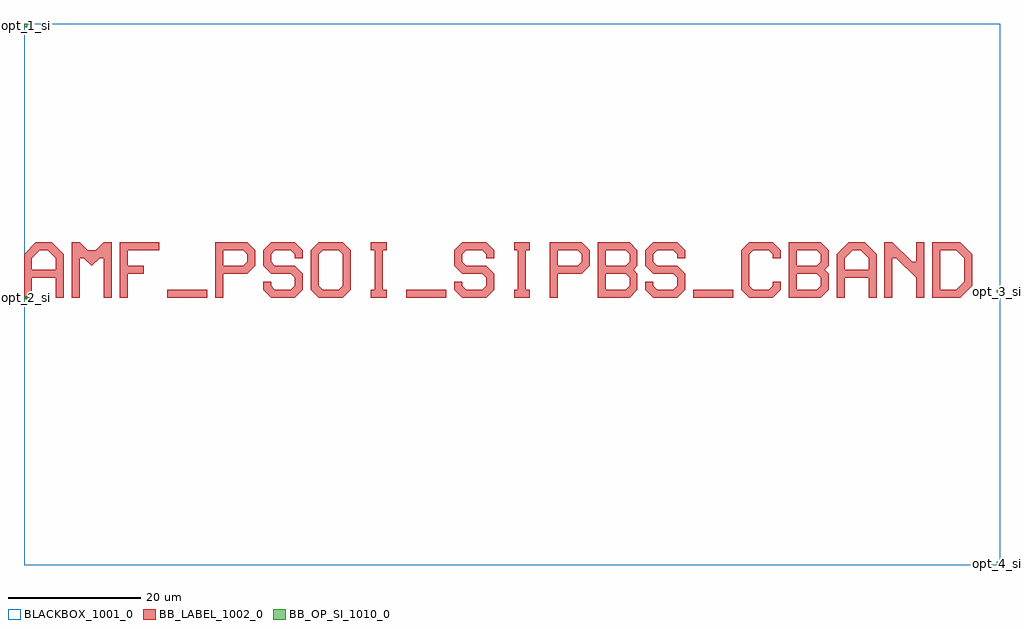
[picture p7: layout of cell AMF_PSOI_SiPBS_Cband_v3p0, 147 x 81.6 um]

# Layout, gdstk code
import gdstk
lib = gdstk.Library(unit=1e-6, precision=1e-09)
def R(c, l, rs):  # rectangles x0, y0, x1, y1
    for r in rs: c.add(gdstk.rectangle(r[:2], r[2:], *l))
def P(c, l, *ps):  # polygons
    for p in ps: c.add(gdstk.Polygon(p, *l))
BLACKBOX_1001_0 = (1001, 0)
BB_LABEL_1002_0 = (1002, 0)
BB_OP_SI_1010_0 = (1010, 0)

amf_psoi_sipbs_cband_v3p = lib.new_cell('AMF_PSOI_SiPBS_Cband_v3p0')
R(amf_psoi_sipbs_cband_v3p, BLACKBOX_1001_0, [(0,-40.3,147,41.3)])
R(amf_psoi_sipbs_cband_v3p, BB_LABEL_1002_0, [(21.602,-0.003,27.602,1.197), (57.602,-0.003,63.602,1.197), (100.802,-0.003,106.802,1.197)])
P(amf_psoi_sipbs_cband_v3p, BB_LABEL_1002_0, [(0.002,-0.003),(0.002,6.597),(1.802,8.397),(4.202,8.397),(5.402,7.197),(2.402,7.197),(1.202,5.997),(1.202,4.197),(4.802,4.197),(4.802,5.997),(3.602,7.197),(5.402,7.197),(6.002,6.597),(6.002,-0.003),(4.802,-0.003),(4.802,2.997),(1.202,2.997),(1.202,-0.003)],
  [(7.202,-0.003),(7.202,8.397),(8.402,8.397),(9.602,7.197),(10.802,7.197),(12.002,8.397),(13.202,8.397),(13.202,-0.003),(12.002,-0.003),(12.002,5.997),(11.402,5.997),(10.202,4.797),(9.002,5.997),(8.402,5.997),(8.402,-0.003)],
  [(14.402,-0.003),(14.402,8.397),(20.402,8.397),(20.402,7.197),(15.602,7.197),(15.602,4.797),(18.002,4.797),(18.002,3.597),(15.602,3.597),(15.602,-0.003)],
  [(28.802,-0.003),(28.802,8.397),(33.602,8.397),(34.802,7.197),(34.802,4.797),(33.602,3.597),(30.002,3.597),(30.002,4.797),(33.002,4.797),(33.602,5.397),(33.602,6.597),(33.002,7.197),(30.002,7.197),(30.002,-0.003)],
  [(37.202,-0.003),(36.002,1.197),(36.002,2.397),(37.202,2.397),(37.202,1.797),(37.802,1.197),(40.202,1.197),(40.802,1.797),(40.802,2.997),(40.202,3.597),(37.202,3.597),(36.002,4.797),(36.002,7.197),(37.202,8.397),(40.802,8.397),(42.002,7.197),(42.002,5.997),(40.802,5.997),(40.802,6.597),(40.202,7.197),(37.802,7.197),(37.202,6.597),(37.202,5.397),(37.802,4.797),(40.802,4.797),(42.002,3.597),(42.002,1.197),(40.802,-0.003)],
  [(44.402,-0.003),(43.202,1.197),(43.202,7.197),(44.402,8.397),(48.002,8.397),(49.202,7.197),(49.202,4.197),(48.002,4.197),(48.002,6.597),(47.402,7.197),(45.002,7.197),(44.402,6.597),(44.402,1.797),(45.002,1.197),(47.402,1.197),(48.002,1.797),(48.002,4.197),(49.202,4.197),(49.202,1.197),(48.002,-0.003)],
  [(52.202,-0.003),(52.202,1.197),(52.802,1.197),(52.802,7.197),(52.202,7.197),(52.202,8.397),(54.602,8.397),(54.602,7.197),(54.002,7.197),(54.002,1.197),(54.602,1.197),(54.602,-0.003)],
  [(66.002,-0.003),(64.802,1.197),(64.802,2.397),(66.002,2.397),(66.002,1.797),(66.602,1.197),(69.002,1.197),(69.602,1.797),(69.602,2.997),(69.002,3.597),(66.002,3.597),(64.802,4.797),(64.802,7.197),(66.002,8.397),(69.602,8.397),(70.802,7.197),(70.802,5.997),(69.602,5.997),(69.602,6.597),(69.002,7.197),(66.602,7.197),(66.002,6.597),(66.002,5.397),(66.602,4.797),(69.602,4.797),(70.802,3.597),(70.802,1.197),(69.602,-0.003)],
  [(73.802,-0.003),(73.802,1.197),(74.402,1.197),(74.402,7.197),(73.802,7.197),(73.802,8.397),(76.202,8.397),(76.202,7.197),(75.602,7.197),(75.602,1.197),(76.202,1.197),(76.202,-0.003)],
  [(79.202,-0.003),(79.202,8.397),(84.002,8.397),(85.202,7.197),(85.202,4.797),(84.002,3.597),(80.402,3.597),(80.402,4.797),(83.402,4.797),(84.002,5.397),(84.002,6.597),(83.402,7.197),(80.402,7.197),(80.402,-0.003)],
  [(86.402,-0.003),(86.402,8.397),(91.202,8.397),(92.402,7.197),(87.602,7.197),(87.602,4.797),(90.602,4.797),(91.202,5.397),(91.202,6.597),(90.602,7.197),(92.402,7.197),(92.402,4.797),(91.802,4.197),(92.402,3.597),(87.602,3.597),(87.602,1.197),(90.602,1.197),(91.202,1.797),(91.202,2.997),(90.602,3.597),(92.402,3.597),(92.402,1.197),(91.202,-0.003)],
  [(94.802,-0.003),(93.602,1.197),(93.602,2.397),(94.802,2.397),(94.802,1.797),(95.402,1.197),(97.802,1.197),(98.402,1.797),(98.402,2.997),(97.802,3.597),(94.802,3.597),(93.602,4.797),(93.602,7.197),(94.802,8.397),(98.402,8.397),(99.602,7.197),(99.602,5.997),(98.402,5.997),(98.402,6.597),(97.802,7.197),(95.402,7.197),(94.802,6.597),(94.802,5.397),(95.402,4.797),(98.402,4.797),(99.602,3.597),(99.602,1.197),(98.402,-0.003)],
  [(109.202,-0.003),(108.002,1.197),(108.002,7.197),(109.202,8.397),(112.802,8.397),(114.002,7.197),(114.002,5.997),(112.802,5.997),(112.802,6.597),(112.202,7.197),(109.802,7.197),(109.202,6.597),(109.202,1.797),(109.802,1.197),(112.202,1.197),(112.802,1.797),(112.802,2.397),(114.002,2.397),(114.002,1.197),(112.802,-0.003)],
  [(115.202,-0.003),(115.202,8.397),(120.002,8.397),(121.202,7.197),(116.402,7.197),(116.402,4.797),(119.402,4.797),(120.002,5.397),(120.002,6.597),(119.402,7.197),(121.202,7.197),(121.202,4.797),(120.602,4.197),(121.202,3.597),(116.402,3.597),(116.402,1.197),(119.402,1.197),(120.002,1.797),(120.002,2.997),(119.402,3.597),(121.202,3.597),(121.202,1.197),(120.002,-0.003)],
  [(122.402,-0.003),(122.402,6.597),(124.202,8.397),(126.602,8.397),(127.802,7.197),(124.802,7.197),(123.602,5.997),(123.602,4.197),(127.202,4.197),(127.202,5.997),(126.002,7.197),(127.802,7.197),(128.402,6.597),(128.402,-0.003),(127.202,-0.003),(127.202,2.997),(123.602,2.997),(123.602,-0.003)],
  [(129.602,-0.003),(129.602,8.397),(130.802,8.397),(133.802,5.397),(134.402,5.397),(134.402,8.397),(135.602,8.397),(135.602,-0.003),(134.402,-0.003),(134.402,2.997),(131.402,5.997),(130.802,5.997),(130.802,-0.003)],
  [(136.802,-0.003),(136.802,8.397),(141.002,8.397),(142.202,7.197),(138.002,7.197),(138.002,1.197),(140.402,1.197),(141.602,2.397),(141.602,5.997),(140.402,7.197),(142.202,7.197),(142.802,6.597),(142.802,1.797),(141.002,-0.003)])
R(amf_psoi_sipbs_cband_v3p, BB_OP_SI_1010_0, [(146.5,-40.25,147,-39.75), (0,-0.25,0.5,0.25), (146.5,0.75,147,1.25), (0,40.75,0.5,41.25)])
amf_psoi_sipbs_cband_v3p.add(gdstk.Label('opt_1_si', (0,41), layer=1010, texttype=0))
amf_psoi_sipbs_cband_v3p.add(gdstk.Label('opt_3_si', (147,1), layer=1010, texttype=0))
amf_psoi_sipbs_cband_v3p.add(gdstk.Label('opt_4_si', (147,-40), layer=1010, texttype=0))
amf_psoi_sipbs_cband_v3p.add(gdstk.Label('opt_2_si', (0,0), layer=1010, texttype=0))

lib.write_gds('AMF_PSOI_SiPBS_Cband_v3p0.gds')
